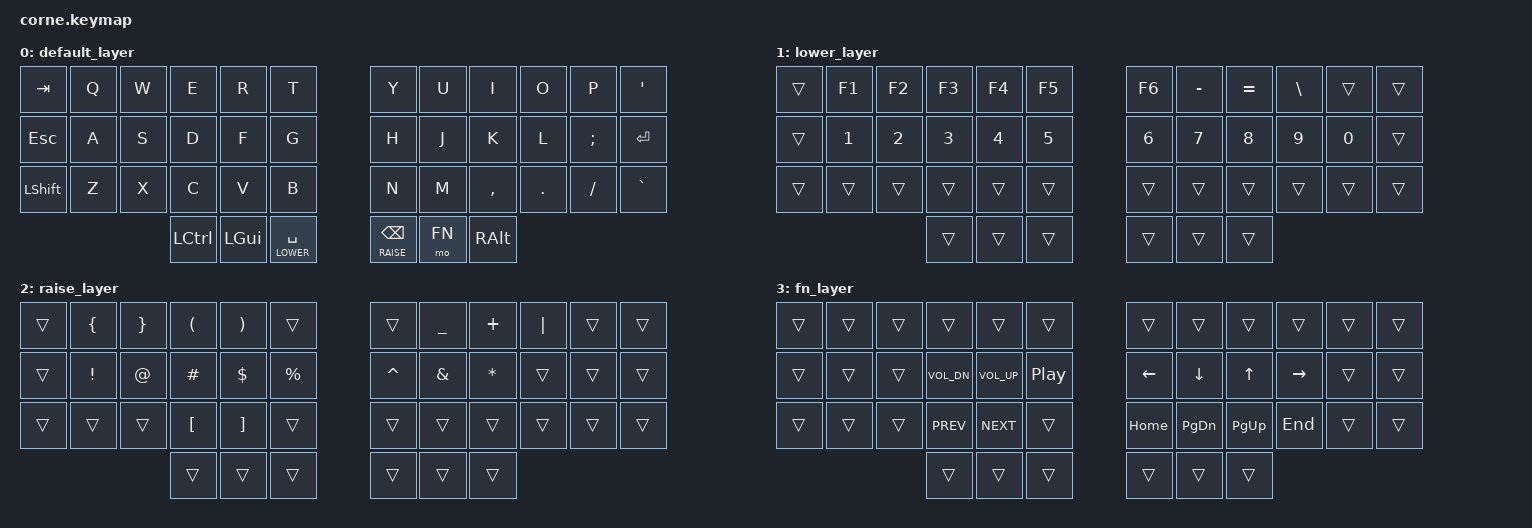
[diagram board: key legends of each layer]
/*
 * Copyright (c) 2020 The ZMK Contributors
 *
 * SPDX-License-Identifier: MIT
 */

#include <behaviors.dtsi>
#include <dt-bindings/zmk/keys.h>
#include <dt-bindings/zmk/bt.h>

#define DEFAULT 0
#define LOWER   1
#define RAISE   2
#define FN      3

/ {
        keymap {
                compatible = "zmk,keymap";

                default_layer {
// -----------------------------------------------------------------------------------------
// | TAB  |  Q  |  W  |  E  |  R  |  T  |   |  Y  |  U  |  I  |  O  |  P  |  '  |
// | ESC  |  A  |  S  |  D  |  F  |  G  |   |  H  |  J  |  K  |  L  |  ;  | ENT |
// | SHFT |  Z  |  X  |  C  |  V  |  B  |   |  N  |  M  |  ,  |  .  |  /  |  `  |
//                    | CTRL| GUI | SPC |   | BKSP|  FN | ALT |
                        bindings = <
   &kp TAB   &kp Q &kp W &kp E &kp R &kp T   &kp Y &kp U  &kp I     &kp O   &kp P    &kp SQT
   &kp ESC   &kp A &kp S &kp D &kp F &kp G   &kp H &kp J  &kp K     &kp L   &kp SEMI &kp RET
   &kp LSHFT &kp Z &kp X &kp C &kp V &kp B   &kp N &kp M  &kp COMMA &kp DOT &kp FSLH &kp GRAVE
        &kp LCTRL &kp LGUI &lt LOWER SPACE   &lt RAISE BSPC &mo FN &kp RALT
                        >;
                };

                lower_layer {
// -----------------------------------------------------------------------------------------
// |     | F1  | F2  | F3  | F4  | F5  |   | F6  |  -  |  =  |  \  |     |     |
// |     |  1  |  2  |  3  |  4  |  5  |   |  6  |  7  |  8  |  9  |  0  |     |
// |     |     |     |     |     |     |   |     |     |     |     |     |     |
//                   |     |     |     |   |     |     |     |
                        bindings = <
   &trans &kp F1 &kp F2 &kp F3 &kp F4 &kp F5   &kp F6 &kp MINUS &kp EQUAL &kp BSLH &trans &trans
   &trans &kp N1 &kp N2 &kp N3 &kp N4 &kp N5   &kp N6 &kp N7    &kp N8    &kp N9   &kp N0 &trans
   &trans &trans &trans &trans &trans &trans   &trans &trans    &trans    &trans   &trans &trans
                        &trans &trans &trans   &trans &trans &trans
                        >;
                };

                raise_layer {
// -----------------------------------------------------------------------------------------
// |     |  {  |  }  |  (  |  )  |     |   |     |  _  |  +  |  |  |     |      |
// |     |  !  |  @  |  #  |  $  |  %  |   |  ^  |  &  |  *  |     |     |      |
// |     |     |     |  [  |  ]  |     |   |     |     |     |     |     |      |
//                   |     |     |     |   |     |     |     |
                        bindings = <
   &trans &kp LBRC &kp RBRC &kp LPAR &kp RPAR &trans      &trans    &kp UNDER &kp PLUS &kp PIPE &trans &trans
   &trans &kp EXCL &kp AT   &kp HASH &kp DLLR &kp PRCNT   &kp CARET &kp AMPS  &kp STAR &trans   &trans &trans
   &trans &trans   &trans   &kp LBKT &kp RBKT &trans      &trans    &trans    &trans   &trans   &trans &trans
                                   &trans &trans &trans   &trans &trans &trans
                        >;
                };

                fn_layer {
// -----------------------------------------------------------------------------------------
// |     |     |     |     |     |     |   |     |     |     |     |     |     |
// |     |     |     | V DN| V UP| PLAY|   | LEFT| DOWN|  UP |RIGHT|     |     |
// |     |     |     | PREV| NEXT|     |   | HOME| PGDN| PGUP| END |     |     |
//                   |     |     |     |   |     |     |     |
                        bindings = <
   &trans &trans &trans &trans       &trans       &trans     &trans   &trans    &trans    &trans    &trans &trans
   &trans &trans &trans &kp C_VOL_DN &kp C_VOL_UP &kp C_PP   &kp LEFT &kp DOWN  &kp UP    &kp RIGHT &trans &trans
   &trans &trans &trans &kp C_PREV   &kp C_NEXT   &trans     &kp HOME &kp PG_DN &kp PG_UP &kp END   &trans &trans
                                     &trans &trans &trans    &trans &trans &trans
                        >;
                };
        };
};
